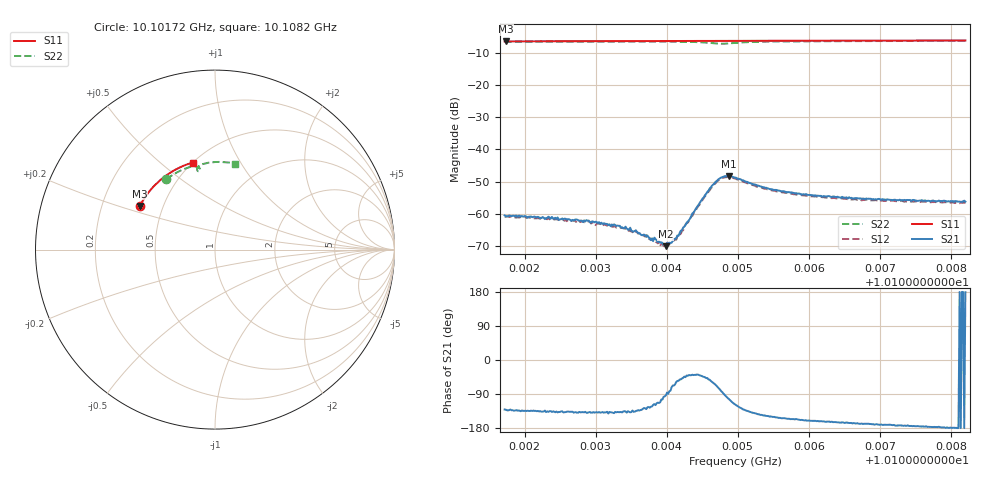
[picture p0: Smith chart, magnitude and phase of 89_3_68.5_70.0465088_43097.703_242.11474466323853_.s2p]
#  HZ  S  RI  R  50.00
! Rohde & Schwarz Vector Network Analyzer
! Rohde-Schwarz,ZNB20-2Port,1311601062101988,3.16
! Created: UTC 3/20/2024, 5:07:44 PM
! freq[Hz]  re:S11  im:S11  re:S21  im:S21  re:S12  im:S12  re:S22  im:S22
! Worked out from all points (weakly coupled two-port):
!   401 points, 10.10172 GHz to 10.1082 GHz, reference 50 ohm
!   highest |S21| = -48.29 dB at 10.10488 GHz (marker M1); lowest = -70.2 dB at 10.10399 GHz (marker M2)
!   lowest |S11| = -6.3 dB at 10.10174 GHz (marker M3), VSWR 2.88, Z = 18.5 + j11.8 ohm
!   |S11| at or under -10 dB: nowhere
!   |S22| runs from -7.0 to -6.2 dB; largest |S21 - S12| = 0.00041
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1.010172e10  -0.4187 0.2429  -0.000609 -0.000712  -0.00054 -0.000712  -0.2704 0.392
1.0101736e10  -0.4182 0.2437  -0.000601 -0.000689  -0.000553 -0.000695  -0.2697 0.3928
1.0102352e10  -0.3997 0.2765  -0.000623 -0.000616  -0.000543 -0.000615  -0.2366 0.4156
1.0102806e10  -0.3846 0.2995  -0.000577 -0.000522  -0.000511 -0.000565  -0.2109 0.4306
1.0103292e10  -0.3668 0.323  -0.000476 -0.00043  -0.00041 -0.000445  -0.1816 0.4449
1.0103373e10  -0.3637 0.3269  -0.000456 -0.000408  -0.00042 -0.000428  -0.1765 0.447
1.0103487e10  -0.3594 0.3323  -0.000448 -0.000403  -0.000352 -0.000398  -0.1692 0.45
1.01036e10  -0.3548 0.3375  -0.00034 -0.00037  -0.000301 -0.000381  -0.1619 0.453
1.0103892e10  -0.343 0.3507  -0.000145 -0.000338  -8.36e-05 -0.00036  -0.1418 0.4593
1.0103989e10  -0.339 0.3548  -1.94e-05 -0.00031  1.39e-06 -0.000338  -0.1348 0.461
1.0104086e10  -0.3349 0.3592  0.000146 -0.000348  0.000173 -0.00032  -0.1273 0.4625
1.0104167e10  -0.3314 0.3627  0.000258 -0.000369  0.000264 -0.000348  -0.1209 0.4633
1.0104508e10  -0.3165 0.377  0.00126 -0.00119  0.0013 -0.00101  -0.0908 0.4583
1.010467e10  -0.3091 0.3834  0.00135 -0.00262  0.00153 -0.0024  -0.0824 0.4441
1.0104767e10  -0.3047 0.3871  0.000484 -0.00362  0.000795 -0.00338  -0.0878 0.4364
1.0104881e10  -0.2995 0.3915  -0.00093 -0.00374  -0.000584 -0.00365  -0.0977 0.4398
1.0104962e10  -0.2957 0.3946  -0.00168 -0.00325  -0.00133 -0.00326  -0.0998 0.4476
1.0105286e10  -0.2804 0.4068  -0.00219 -0.00164  -0.00193 -0.00177  -0.0818 0.4704
1.010548e10  -0.271 0.4138  -0.00207 -0.00121  -0.00186 -0.00134  -0.0673 0.4768
1.0106048e10  -0.2423 0.433  -0.00182 -0.000646  -0.00169 -0.000766  -0.0274 0.4853
1.0107134e10  -0.1839 0.4634  -0.00162 -0.000267  -0.00153 -0.000385  0.0445 0.488
1.0108203e10  -0.1232 0.4852  -0.00153 2.89e-05  -0.00148 -0.000147  0.1128 0.4794
